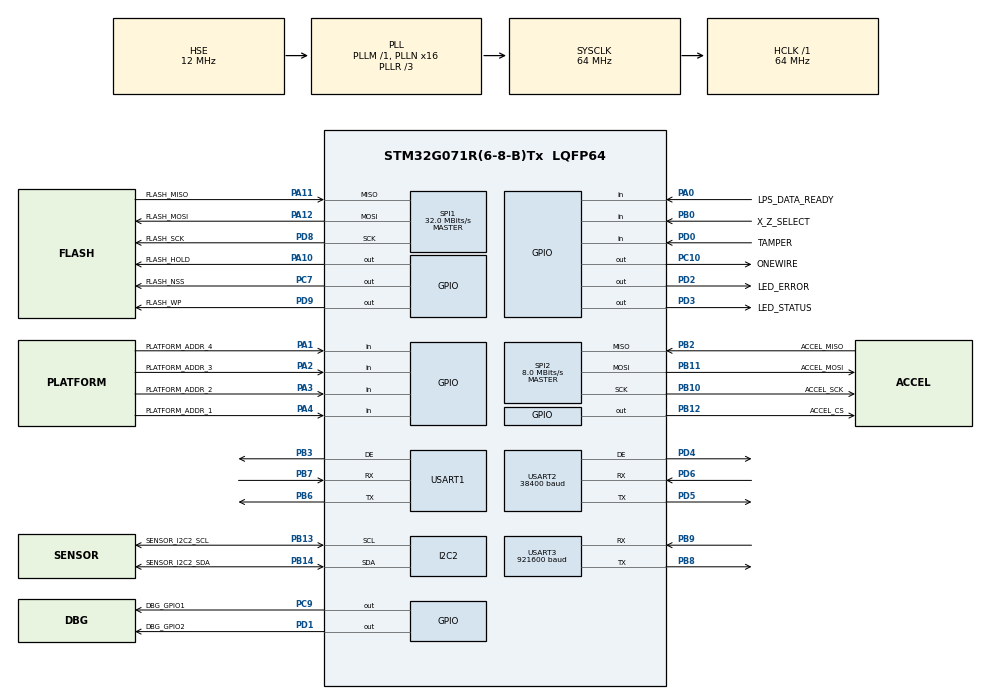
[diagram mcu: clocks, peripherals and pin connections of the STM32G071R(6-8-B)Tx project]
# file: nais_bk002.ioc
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FREERTOS.Tasks01=debugTask,55,384,StartDebugTask,Default,NULL,Dynamic,NULL,NULL;rxCommandsTask,54,384,StartTaskRxCommands,Default,NULL,Dynamic,NULL,NULL;accelTask,49,1024,StartTaskAccelerometer,Default,NULL,Dynamic,NULL,NULL;sensorsPolling,55,384,StartSensorsPolling,Default,NULL,Dynamic,NULL,NULL
FREERTOS.Timers01=maximumsPeriodTimer,maximumsPeriodTimer_callback,osTimerPeriodic,Default,NULL,Dynamic,NULL
FREERTOS.configENABLE_FPU=1
FREERTOS.configMINIMAL_STACK_SIZE=256
FREERTOS.configTIMER_TASK_PRIORITY=0
FREERTOS.configTOTAL_HEAP_SIZE=13312
FREERTOS.configUSE_NEWLIB_REENTRANT=1
FREERTOS.configUSE_PREEMPTION=1
I2C2.Analog_Filter=I2C_ANALOGFILTER_ENABLE
I2C2.Timing=0x10707DBC
Mcu.Family=STM32G0
Mcu.Name=STM32G071R(6-8-B)Tx
Mcu.Package=LQFP64
NVIC.TIM17_IRQn=true\:3\:0\:false\:false\:true\:false\:false\:true\:true
NVIC.TimeBase=TIM17_IRQn
NVIC.TimeBaseIP=TIM17
NVIC.USART1_IRQn=true\:3\:0\:false\:false\:true\:true\:true\:true\:true
NVIC.USART2_IRQn=true\:3\:0\:true\:false\:true\:true\:true\:true\:true
NVIC.USART3_4_LPUART1_IRQn=true\:3\:0\:false\:false\:true\:true\:true\:true\:true
PA0.GPIO_Label=LPS_DATA_READY
PA0.Signal=GPIO_Input
PA1.GPIO_Label=PLATFORM_ADDR_4
PA1.GPIO_PuPd=GPIO_PULLUP
PA1.Signal=GPIO_Input
PA10.GPIO_Label=FLASH_HOLD
PA10.Signal=GPIO_Output
PA11\ [PA9].GPIO_Label=FLASH_MISO
PA11\ [PA9].GPIO_Speed=GPIO_SPEED_FREQ_VERY_HIGH
PA11\ [PA9].Mode=Full_Duplex_Master
PA11\ [PA9].Signal=SPI1_MISO
PA12\ [PA10].GPIO_Label=FLASH_MOSI
PA12\ [PA10].GPIO_Speed=GPIO_SPEED_FREQ_VERY_HIGH
PA12\ [PA10].Mode=Full_Duplex_Master
PA12\ [PA10].Signal=SPI1_MOSI
PA13.Mode=Serial_Wire
PA13.Signal=SYS_SWDIO
PA14-BOOT0.Mode=Serial_Wire
PA14-BOOT0.Signal=SYS_SWCLK
PA2.GPIO_Label=PLATFORM_ADDR_3
PA2.GPIO_PuPd=GPIO_PULLUP
PA2.Signal=GPIO_Input
PA3.GPIO_Label=PLATFORM_ADDR_2
PA3.GPIO_PuPd=GPIO_PULLUP
PA3.Signal=GPIO_Input
PA4.GPIO_Label=PLATFORM_ADDR_1
PA4.GPIO_PuPd=GPIO_PULLUP
PA4.Signal=GPIO_Input
PB0.GPIO_Label=X_Z_SELECT
PB0.GPIO_PuPd=GPIO_PULLUP
PB0.Signal=GPIO_Input
PB10.GPIO_Label=ACCEL_SCK
PB10.GPIO_Speed=GPIO_SPEED_FREQ_VERY_HIGH
PB10.Mode=Full_Duplex_Master
PB10.Signal=SPI2_SCK
PB11.GPIO_Label=ACCEL_MOSI
PB11.GPIO_Speed=GPIO_SPEED_FREQ_VERY_HIGH
PB11.Mode=Full_Duplex_Master
PB11.Signal=SPI2_MOSI
PB12.GPIO_Label=ACCEL_CS
PB12.Signal=GPIO_Output
PB13.GPIO_Label=SENSOR_I2C2_SCL
PB13.Mode=I2C
PB13.Signal=I2C2_SCL
PB14.GPIO_Label=SENSOR_I2C2_SDA
PB14.Mode=I2C
PB14.Signal=I2C2_SDA
PB2.GPIO_Label=ACCEL_MISO
PB2.GPIO_Speed=GPIO_SPEED_FREQ_VERY_HIGH
PB2.Mode=Full_Duplex_Master
PB2.Signal=SPI2_MISO
PB3.Mode=Hardware Flow Control (RS485)
PB3.Signal=USART1_DE
PB6.Mode=Asynchronous
PB6.Signal=USART1_TX
PB7.Mode=Asynchronous
PB7.Signal=USART1_RX
PB8.Mode=Asynchronous
PB8.Signal=USART3_TX
PB9.Mode=Asynchronous
PB9.Signal=USART3_RX
PC10.GPIO_Label=ONEWIRE
PC10.GPIO_Speed=GPIO_SPEED_FREQ_VERY_HIGH
PC10.PinState=GPIO_PIN_RESET
PC10.Signal=GPIO_Output
PC7.GPIO_Label=FLASH_NSS
PC7.Signal=GPIO_Output
PC9.GPIO_Label=DBG_GPIO1
PC9.GPIO_Speed=GPIO_SPEED_FREQ_VERY_HIGH
PC9.Signal=GPIO_Output
PD0.GPIO_Label=TAMPER
PD0.GPIO_PuPd=GPIO_PULLUP
PD0.Signal=GPIO_Input
PD1.GPIO_Label=DBG_GPIO2
PD1.GPIO_Speed=GPIO_SPEED_FREQ_VERY_HIGH
PD1.Signal=GPIO_Output
PD2.GPIO_Label=LED_ERROR
PD2.Signal=GPIO_Output
PD3.GPIO_Label=LED_STATUS
PD3.Signal=GPIO_Output
PD4.Mode=Hardware Flow Control (RS485)
PD4.Signal=USART2_DE
PD5.Mode=Asynchronous
PD5.Signal=USART2_TX
PD6.Mode=Asynchronous
PD6.Signal=USART2_RX
PD8.GPIO_Label=FLASH_SCK
PD8.GPIO_Speed=GPIO_SPEED_FREQ_VERY_HIGH
PD8.Mode=Full_Duplex_Master
PD8.Signal=SPI1_SCK
PD9.GPIO_Label=FLASH_WP
PD9.Signal=GPIO_Output
PF0-OSC_IN\ (PF0).Mode=HSE-External-Oscillator
PF0-OSC_IN\ (PF0).Signal=RCC_OSC_IN
PF1-OSC_OUT\ (PF1).Mode=HSE-External-Oscillator
PF1-OSC_OUT\ (PF1).Signal=RCC_OSC_OUT
ProjectManager.HeapSize=0x200
ProjectManager.StackSize=0x400
ProjectManager.TargetToolchain=STM32CubeIDE
RCC.ADCFreq_Value=64000000
RCC.AHBFreq_Value=64000000
RCC.CortexFreq_Value=64000000
RCC.EXTERNAL_CLOCK_VALUE=48000
RCC.EnbaleCSS=true
RCC.HCLKFreq_Value=64000000
RCC.HSE_VALUE=12000000
RCC.HSI_VALUE=16000000
RCC.LSE_VALUE=32768
RCC.PLLN=16
RCC.PLLR=RCC_PLLR_DIV3
RCC.PLLSourceVirtual=RCC_PLLSOURCE_HSE
RCC.SYSCLKFreq_VALUE=64000000
RCC.SYSCLKSource=RCC_SYSCLKSOURCE_PLLCLK
RCC.VCOOutputFreq_Value=192000000
SPI1.BaudRatePrescaler=SPI_BAUDRATEPRESCALER_2
SPI1.CalculateBaudRate=32.0 MBits/s
SPI1.DataSize=SPI_DATASIZE_8BIT
SPI1.Direction=SPI_DIRECTION_2LINES
SPI1.Mode=SPI_MODE_MASTER
SPI1.VirtualType=VM_MASTER
SPI2.BaudRatePrescaler=SPI_BAUDRATEPRESCALER_8
SPI2.CalculateBaudRate=8.0 MBits/s
SPI2.DataSize=SPI_DATASIZE_8BIT
SPI2.Direction=SPI_DIRECTION_2LINES
SPI2.Mode=SPI_MODE_MASTER
SPI2.VirtualType=VM_MASTER
TIM1.Prescaler=64-1
USART1.VirtualMode-Asynchronous=VM_ASYNC
USART1.VirtualMode-Hardware\ Flow\ Control\ (RS485)=VM_ASYNC
USART2.AutoBaudRateEnableParam=UART_ADVFEATURE_AUTOBAUDRATE_DISABLE
USART2.BaudRate=38400
USART2.FIFOMode=FIFOMODE_ENABLE
USART2.Parity=PARITY_EVEN
USART2.RxPinLevelInvertParam=ADVFEATURE_RXINV_DISABLE
USART2.TxPinLevelInvertParam=ADVFEATURE_TXINV_DISABLE
USART2.UART_DEPolarity=UART_DE_POLARITY_HIGH
USART2.VirtualMode-Asynchronous=VM_ASYNC
USART2.VirtualMode-Hardware\ Flow\ Control\ (RS485)=VM_ASYNC
USART2.WordLength=WORDLENGTH_9B
USART3.BaudRate=921600
USART3.VirtualMode-Asynchronous=VM_ASYNC
VP_FREERTOS_VS_CMSIS_V2.Mode=CMSIS_V2
VP_RTC_VS_RTC_Activate.Mode=RTC_Enabled
VP_SYS_VS_tim17.Mode=TIM17
VP_TIM1_VS_ClockSourceINT.Mode=Internal
board=custom

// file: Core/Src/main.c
/* USER CODE BEGIN Header */
// This is an open source non-commercial project. Dear PVS-Studio, please check it.
// PVS-Studio Static Code Analyzer for C, C++, C#, and Java: https://pvs-studio.com
/**
  ******************************************************************************
  * @file           : main.c
  * @brief          : Main program body
  ******************************************************************************
  * @attention
  *
  * Copyright (c) 2023 STMicroelectronics.
  * All rights reserved.
  *
  * This software is licensed under terms that can be found in the LICENSE file
  * in the root directory of this software component.
  * If no LICENSE file comes with this software, it is provided AS-IS.
  *
  ******************************************************************************
  */
/* USER CODE END Header */
#include "main.h"
#include "cmsis_os.h"
#include "i2c.h"
#include "rtc.h"
#include "spi.h"
#include "tim.h"
#include "usart.h"
#include "gpio.h"

/* USER CODE BEGIN Includes */
#include "hardware_check.h"
#include "debug.h"

#include <string.h>

/* USER CODE END Includes */

/* USER CODE BEGIN PD */
//#define DEBUG
//#define EXTENDED_DEBUG
/* USER CODE END PD */

void SystemClock_Config(void);
void MX_FREERTOS_Init(void);

int main(void)
{

  /* MCU Configuration--------------------------------------------------------*/

  /* Reset of all peripherals, Initializes the Flash interface and the Systick. */
  HAL_Init();

  /* Configure the system clock */
  SystemClock_Config();

  /* Initialize all configured peripherals */
  MX_GPIO_Init();
  MX_I2C2_Init();
  MX_SPI1_Init();
  MX_SPI2_Init();
  MX_USART1_UART_Init();
  MX_USART2_UART_Init();
  MX_USART3_UART_Init();
  MX_TIM1_Init();
  MX_RTC_Init();
  /* USER CODE BEGIN 2 */

  debug("\r\n\r\nInited\r\n");

  /* USER CODE END 2 */

  /* Init scheduler */
  osKernelInitialize();  /* Call init function for freertos objects (in freertos.c) */
  MX_FREERTOS_Init();

  /* Start scheduler */
  osKernelStart();
  /* We should never get here as control is now taken by the scheduler */
  /* Infinite loop */
  while (1)
  {

  }
}

void SystemClock_Config(void)
{
  RCC_OscInitTypeDef RCC_OscInitStruct = {0};
  RCC_ClkInitTypeDef RCC_ClkInitStruct = {0};

  /** Configure the main internal regulator output voltage
  */
  HAL_PWREx_ControlVoltageScaling(PWR_REGULATOR_VOLTAGE_SCALE1);

  /** Initializes the RCC Oscillators according to the specified parameters
  * in the RCC_OscInitTypeDef structure.
  */
  RCC_OscInitStruct.OscillatorType = RCC_OSCILLATORTYPE_LSI|RCC_OSCILLATORTYPE_HSE;
  RCC_OscInitStruct.HSEState = RCC_HSE_ON;
  RCC_OscInitStruct.LSIState = RCC_LSI_ON;
  RCC_OscInitStruct.PLL.PLLState = RCC_PLL_ON;
  RCC_OscInitStruct.PLL.PLLSource = RCC_PLLSOURCE_HSE;
  RCC_OscInitStruct.PLL.PLLM = RCC_PLLM_DIV1;
  RCC_OscInitStruct.PLL.PLLN = 16;
  RCC_OscInitStruct.PLL.PLLP = RCC_PLLP_DIV2;
  RCC_OscInitStruct.PLL.PLLQ = RCC_PLLQ_DIV2;
  RCC_OscInitStruct.PLL.PLLR = RCC_PLLR_DIV3;
  if (HAL_RCC_OscConfig(&RCC_OscInitStruct) != HAL_OK)
  {
    Error_Handler();
  }

  /** Initializes the CPU, AHB and APB buses clocks
  */
  RCC_ClkInitStruct.ClockType = RCC_CLOCKTYPE_HCLK|RCC_CLOCKTYPE_SYSCLK
                              |RCC_CLOCKTYPE_PCLK1;
  RCC_ClkInitStruct.SYSCLKSource = RCC_SYSCLKSOURCE_PLLCLK;
  RCC_ClkInitStruct.AHBCLKDivider = RCC_SYSCLK_DIV1;
  RCC_ClkInitStruct.APB1CLKDivider = RCC_HCLK_DIV1;

  if (HAL_RCC_ClockConfig(&RCC_ClkInitStruct, FLASH_LATENCY_2) != HAL_OK)
  {
    Error_Handler();
  }

  /** Enables the Clock Security System
  */
  HAL_RCC_EnableCSS();
}

void HAL_TIM_PeriodElapsedCallback(TIM_HandleTypeDef *htim)
{
  if (htim->Instance == TIM17) {
    HAL_IncTick();
  }
}

void Error_Handler(void)
{
  /* USER CODE BEGIN Error_Handler_Debug */
  /* User can add his own implementation to report the HAL error return state */
	__disable_irq();
	HAL_PWR_EnableBkUpAccess();
	HAL_RTCEx_BKUPWrite(&hrtc, RTC_BKP_DR0, 0xAAAA);

	debug("==========\r\n");
	debug("ERROR HANDLER\r\n");
	debug("==========\r\n");

	send_all_debug_buffer_blocking();

	HAL_GPIO_WritePin(LED_ERROR_GPIO_Port, LED_ERROR_Pin, GPIO_PIN_SET);

	HAL_NVIC_SystemReset();

  while (1)
  {
  }
  /* USER CODE END Error_Handler_Debug */
}

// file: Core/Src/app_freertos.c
/* USER CODE BEGIN Header */
// This is an open source non-commercial project. Dear PVS-Studio, please check it.
// PVS-Studio Static Code Analyzer for C, C++, C#, and Java: https://pvs-studio.com
/**
 ******************************************************************************
 * File Name          : app_freertos.c
 * Description        : Code for freertos applications
 ******************************************************************************
 * @attention
 *
 * Copyright (c) 2023 STMicroelectronics.
 * All rights reserved.
 *
 * This software is licensed under terms that can be found in the LICENSE file
 * in the root directory of this software component.
 * If no LICENSE file comes with this software, it is provided AS-IS.
 *
 ******************************************************************************
 */
/* USER CODE END Header */

#include "FreeRTOS.h"
#include "task.h"
#include "main.h"
#include "cmsis_os.h"

/* USER CODE BEGIN Includes */
#include "spi.h"
#include "i2c.h"
#include "usart.h"

#include "hardware_check.h"
#include "stm32g0xx_it.h"
#include <string.h>
#include <stdio.h>
#include <stdint.h>

#include <math.h>

#include <stdlib.h>

#include "lis331dlh.h"
#include "calc_length.h"
#include "debug.h"

#include "lps22.h"
#include "hdc1080.h"
#include "sensors_state.h"

#include <stdbool.h>
#include "rtc.h"
/* USER CODE END Includes */

/* USER CODE BEGIN PTD */
typedef enum {
	PARSER_WAITING_START = 0,
	PARSER_RECEIVING_1BYTE,
	PARSER_RECEIVING_2BYTE,
	PARSER_WAITING_END,
	PARSER_WAITING_TASK,
} parser_state_t;

struct SensorsState sensorsState;

typedef struct {
	uint8_t number;
	uint8_t number_ch;
} platform_switches_state_t;

/* USER CODE END PTD */

/* USER CODE BEGIN PD */
#define timer_period 600000
/* USER CODE END PD */

/* USER CODE BEGIN Variables */
uint8_t transmitting_command[22];
uint8_t received_command[22];	//буфер приема данных от терминала

uint8_t is_data_received = 0;

parser_state_t terminal_parser_state = PARSER_WAITING_START;

LPS22HB_sensor LPS_data;

HDC_sensor HDC_config = {
		.temperature_resolution = Temperature_Resolution_14_bit,
		.humidity_resolution = Humidity_Resolution_14_bit,
};

lis331dlh_t config = {
	.data_rate = DATA_RATE_100,
	.range = FULL_SCALE_2G,
};

platform_switches_state_t platform_number;

uint16_t serial_number = 132;	//	СЕРИЙНЫЙ НОМЕР ПЛАТЫ (от 0 до 65535 включительно)

bool is_error = 0;
bool case_opened = 0;

bool period_expired = false;

float maximum_move_in_period = 0;
float max_acceleration_in_period = 0;

/* USER CODE END Variables */
/* Definitions for debugTask */
osThreadId_t debugTaskHandle;
const osThreadAttr_t debugTask_attributes = {
  .name = "debugTask",
  .priority = (osPriority_t) osPriorityRealtime7,
  .stack_size = 384 * 4
};
/* Definitions for rxCommandsTask */
osThreadId_t rxCommandsTaskHandle;
const osThreadAttr_t rxCommandsTask_attributes = {
  .name = "rxCommandsTask",
  .priority = (osPriority_t) osPriorityRealtime6,
  .stack_size = 384 * 4
};
/* Definitions for accelTask */
osThreadId_t accelTaskHandle;
const osThreadAttr_t accelTask_attributes = {
  .name = "accelTask",
  .priority = (osPriority_t) osPriorityRealtime1,
  .stack_size = 1024 * 4
};
/* Definitions for sensorsPolling */
osThreadId_t sensorsPollingHandle;
const osThreadAttr_t sensorsPolling_attributes = {
  .name = "sensorsPolling",
  .priority = (osPriority_t) osPriorityRealtime7,
  .stack_size = 384 * 4
};
/* Definitions for maximumsPeriodTimer */
osTimerId_t maximumsPeriodTimerHandle;
const osTimerAttr_t maximumsPeriodTimer_attributes = {
  .name = "maximumsPeriodTimer"
};

/* USER CODE BEGIN FunctionPrototypes */
void check_errors();

void get_platform_number() {

	platform_number.number |= (!HAL_GPIO_ReadPin(PLATFORM_ADDR_1_GPIO_Port, PLATFORM_ADDR_1_Pin) << 0);
	platform_number.number |= (!HAL_GPIO_ReadPin(PLATFORM_ADDR_2_GPIO_Port, PLATFORM_ADDR_2_Pin) << 1);
	platform_number.number |= (!HAL_GPIO_ReadPin(PLATFORM_ADDR_3_GPIO_Port, PLATFORM_ADDR_3_Pin) << 2);
	platform_number.number |= (!HAL_GPIO_ReadPin(PLATFORM_ADDR_4_GPIO_Port, PLATFORM_ADDR_4_Pin) << 3);

	for (int i = 0; i < 4; i++) {
		if (platform_number.number & (1 << i)) {
			platform_number.number = i;
			break;
		}
	}

	platform_number.number_ch = '0' + platform_number.number;

	debug("PLATFORM NUMBER: %d \r\n", platform_number.number);
}

/* USER CODE END FunctionPrototypes */

void StartDebugTask(void *argument);
void StartTaskRxCommands(void *argument);
void StartTaskAccelerometer(void *argument);
void StartSensorsPolling(void *argument);
void maximumsPeriodTimer_callback(void *argument);

void MX_FREERTOS_Init(void); /* (MISRA C 2004 rule 8.1) */

void MX_FREERTOS_Init(void) {
  /* USER CODE BEGIN Init */

	sensorsState.hdc_fail = 0;
	sensorsState.lps_fail = 0;

  /* USER CODE END Init */

  /* Create the timer(s) */
  /* creation of maximumsPeriodTimer */
  maximumsPeriodTimerHandle = osTimerNew(maximumsPeriodTimer_callback, osTimerPeriodic, NULL, &maximumsPeriodTimer_attributes);

  /* Create the thread(s) */
  /* creation of debugTask */
  debugTaskHandle = osThreadNew(StartDebugTask, NULL, &debugTask_attributes);

  /* creation of rxCommandsTask */
  rxCommandsTaskHandle = osThreadNew(StartTaskRxCommands, NULL, &rxCommandsTask_attributes);

  /* creation of accelTask */
  accelTaskHandle = osThreadNew(StartTaskAccelerometer, NULL, &accelTask_attributes);

  /* creation of sensorsPolling */
  sensorsPollingHandle = osThreadNew(StartSensorsPolling, NULL, &sensorsPolling_attributes);

}

void StartDebugTask(void *argument)
{
  /* USER CODE BEGIN StartDebugTask */

  /* Infinite loop */
	check_errors();

	get_platform_number();

	osTimerStart(maximumsPeriodTimerHandle, timer_period);	// запуск таймера с периодом срабатывания 10 минут
	debug("\r\nSN: %05d\r\n", serial_number);
	debug("\r\nMax mediums timer set to %d ms\r\n", timer_period);

	if (!debug_enabled()) {

		uint8_t message_sn[64] = { 0, };
		memset(message_sn, 0, sizeof(message_sn));

		int size = snprintf((char *)message_sn, sizeof(message_sn), "SN: %05d \r\n", serial_number);

		if (size > 0) {
			HAL_UART_Transmit(debug_uart, message_sn, size, 100);
		}

	}

	vTaskDelay(100);

	for (;;) {

		send_debug_messages();

		if (!debug_enabled()) {

			float max_acceleration = fmax(
					round_and_limit_float(get_max_positive_acceleration()),
					round_and_limit_float(get_max_negative_acceleration()));

			float maximum_move = fmax(
					round_and_limit_float(get_max_positive_move()),
					round_and_limit_float(get_max_negative_move()));

			uint8_t message[256] = { 0, };
			memset(message, 0, sizeof(message));

			int size = snprintf((char *)message, sizeof(message),
				"ACCEL: 0x%08X, LENGTH: 0x%08X, MAX_ACCEL: 0x%08X, MAX_LENGTH: 0x%08X, PRESSURE: %.2f HUMIDITY: %d, TEMP %.2f\r\n\nACCEL: %06.2f,     LENGTH: %06.2f,     MAX_ACCEL: %06.2f,     MAX_LENGTH: %06.2f\r\n\n",
				*(uint32_t*)&max_acceleration, *(uint32_t*)&maximum_move,
				*(uint32_t*)&max_acceleration_in_period, *(uint32_t*)&maximum_move_in_period,
				(LPS_data.last_pressure / 1024.0), HDC_config.last_humidity,
				HDC_config.last_temperature,
				max_acceleration, maximum_move,
				max_acceleration_in_period, maximum_move_in_period);

			if (size > 0) {
				HAL_UART_Transmit(debug_uart, message, size, 100);
			}

		}

		HAL_GPIO_TogglePin(LED_STATUS_GPIO_Port, LED_STATUS_Pin);
		vTaskDelay(100);
	}

  /* USER CODE END StartDebugTask */
}

void StartTaskRxCommands(void *argument) {
	/* USER CODE BEGIN StartTaskRxCommands */
	/* Infinite loop */

	memset(received_command, 0x0, sizeof(received_command));
	memset(transmitting_command, 0x0, sizeof(transmitting_command));

	receive(terminal_uart, received_command, 1);

	for (;;) {

		vTaskDelay(5);

		if (terminal_parser_state == PARSER_WAITING_TASK) {
			HAL_GPIO_WritePin(LED_STATUS_GPIO_Port, LED_STATUS_Pin, GPIO_PIN_SET);

			debug("Received <<%s>>\r\n", received_command);

			if (received_command[1] == '4') { // если посылка S4x;

				float maximum = fmax(
						round_and_limit_float(get_max_positive_move()),
						round_and_limit_float(get_max_negative_move()));

				float max_acceleration = fmax(
						round_and_limit_float(get_max_positive_acceleration()),
						round_and_limit_float(get_max_negative_acceleration()));

				uint8_t flags = 0;
				flags |= (case_opened << 0);
				flags |= (is_error << 1);
				if (is_error) is_error = false;// сбрасываем флаг ошибки после отправки на терминал

				if (received_command[2] == platform_number.number_ch) {	// Анализируем третий символ, отвечающий за конкретный БК

					transmitting_command[0] = HDC_config.last_temperature;
					transmitting_command[1] = HDC_config.last_humidity;
					transmitting_command[2] = flags;
					transmitting_command[3] = (((LPS_data.last_pressure / 1000) - 0.5) / 1.5f * 100);

					memcpy(&transmitting_command[4], &maximum, 4);
					memcpy(&transmitting_command[8], &max_acceleration, 4);
					memcpy(&transmitting_command[12], &maximum_move_in_period, 4);
					memcpy(&transmitting_command[16], &max_acceleration_in_period, 4);
					memcpy(&transmitting_command[20], &serial_number, 2);

					HAL_UART_Transmit_IT(terminal_uart, transmitting_command, 22);
					debug("Transmit to terminal: <%02x %02x %02x %02x  %02x %02x %02x %02x  %02x %02x %02x %02x  %02x %02x %02x %02x  %02x %02x %02x %02x  %02x %02x>",
							transmitting_command[0], transmitting_command[1],
							transmitting_command[2], transmitting_command[3],
							transmitting_command[4], transmitting_command[5],
							transmitting_command[6], transmitting_command[7],
							transmitting_command[8], transmitting_command[9],
							transmitting_command[10], transmitting_command[11],
							transmitting_command[12], transmitting_command[13],
							transmitting_command[14], transmitting_command[15],
							transmitting_command[16], transmitting_command[17],
							transmitting_command[18], transmitting_command[19],
							transmitting_command[20], transmitting_command[21]);
				}
			}

			terminal_parser_state = PARSER_WAITING_START;
			memset(received_command, 0, sizeof(received_command));
			receive(terminal_uart, received_command, 1);
			debug("Receive from task\r\n");
		}
	}
	/* USER CODE END StartTaskRxCommands */
}

void StartTaskAccelerometer(void *argument)
{
  /* USER CODE BEGIN StartTaskAccelerometer */
  /* Infinite loop */
	if(lis331dlh_init_spi(&config, ACCELEROMETER_SPI, ACCEL_CS_GPIO_Port, ACCEL_CS_Pin)) {
		debug("LIS331DLH DOESN'T WORK OR DOESN'T SOLDERED");
		HardFault_Handler();
	}
	lis331dlh_update_config(&config);

//	lis331dlh_print_config(&config);
	// нахождение угла наклона
	find_degree(&config);

	while (1) {

		// проверка готовности
		lis331dlh_read_status(&config);
		check_overrun(&config);

		if (is_measurement_ready(&config)) {
			// обновление данных с датчика ускорения
			lis331dlh_update_accelaration(&config);

			// сброс максимумом и минимумов по таймерам
			reset_move_maximums();
			reset_acceleration_maximums();

			// алгоритм вычисления длины перемещений
			calc_length(&config);
		}

		vTaskDelay(5);

		float maximum = fmax(
				round_and_limit_float(get_max_positive_move()),
				round_and_limit_float(get_max_negative_move()));

		float max_acceleration = fmax(
				round_and_limit_float(get_max_positive_acceleration()),
				round_and_limit_float(get_max_negative_acceleration()));

		if(period_expired) {
			debug("\r\nTaskAccelerometer: Timer done. current maximum = %f maximum_in_period = %f current max_acceleration = %f max_acceleration_in_period = %f \r\n",
					maximum, maximum_move_in_period,
					max_acceleration, max_acceleration_in_period);
			period_expired = false;
			maximum_move_in_period = 0;
			max_acceleration_in_period = 0;
			debug("\r\nTaskAccelerometer: Timer resetted. maximum_in_period = %f max_acceleration_in_period = %f \r\n", maximum_move_in_period, max_acceleration_in_period);
		}

		if(maximum > maximum_move_in_period) maximum_move_in_period = maximum;
		if(max_acceleration > max_acceleration_in_period) max_acceleration_in_period = max_acceleration;
	}
  /* USER CODE END StartTaskAccelerometer */
}

void StartSensorsPolling(void *argument)
{
  /* USER CODE BEGIN StartSensorsPolling */
 /* Infinite loop */

	vTaskDelay(200);
	if(!hdc1080_init(SENSORS_I2C, HDC_config.temperature_resolution, HDC_config.humidity_resolution)) {
		debug("HDC1080 DOESN'T WORK OR DOESN'T SOLDERED");
		HardFault_Handler();
	}

	if(!lps22hb_init(SENSORS_I2C)) {
		debug("LPS22HB DOESN'T WORK OR DOESN'T SOLDERED");
		HardFault_Handler();
	}

	for (;;) {

		uint8_t status = lps22hb_get_status(&config);
		lps22hb_check_pressure_overrun(status);
		lps22hb_check_temperature_overrun(status);

		if (lps22hb_check_pressure_data_available(status) && lps22hb_check_temperature_data_available(status))
		{
			hdc1080_start_measurement(&HDC_config.last_temperature, &HDC_config.last_humidity);
			debug("HDC1080 RAW TEMP: 0x%4x RAW HUMIDITY: 0x%4x\r\n",
					&HDC_config.last_temperature,
					&HDC_config.last_humidity);

			LPS_data.last_pressure = lps22hb_read_pressure();
			LPS_data.last_temperature = lps22hb_read_temperature();
			debug("LPS22HB RAW TEMP: 0x%4x RAW PRESSURE: 0x%4x\r\n",
					&LPS_data.last_temperature,
					&LPS_data.last_pressure);

			vTaskDelay(1000);
		}
		else {
			vTaskDelay(10);
		}

		if(HAL_GPIO_ReadPin(TAMPER_GPIO_Port, TAMPER_Pin) == GPIO_PIN_RESET){
			case_opened = true;
		}
	}
  /* USER CODE END StartSensorsPolling */
}

/* maximumsPeriodTimer_callback function */
void maximumsPeriodTimer_callback(void *argument)
{
  /* USER CODE BEGIN maximumsPeriodTimer_callback */
	debug("\r\n===Timer 10 minutes: reloaded===\r\n");
	period_expired = true;
  /* USER CODE END maximumsPeriodTimer_callback */
}

/* USER CODE BEGIN Application */

void HAL_UART_RxCpltCallback(UART_HandleTypeDef *huart) {	//Callback-функция завершения приема данных
	if(huart == &huart2) {
		extended_debug("Current state = %d, receive <%c>\r\n", terminal_parser_state, received_command[terminal_parser_state]);

		switch (terminal_parser_state) {
		case PARSER_WAITING_START:
			if (received_command[0] == 'S') {
				terminal_parser_state = PARSER_RECEIVING_1BYTE;
			}
			break;

		case PARSER_RECEIVING_1BYTE:
			if (received_command[1] == '4') {
				terminal_parser_state += 1;
			}
			else {
				terminal_parser_state = PARSER_WAITING_START;
			}
			break;

		case PARSER_RECEIVING_2BYTE:
			terminal_parser_state += 1;
			break;

		case PARSER_WAITING_END:
			terminal_parser_state = PARSER_WAITING_TASK;
			break;

		case PARSER_WAITING_TASK:
			break;
		}

		extended_debug("New state = %d\r\n", terminal_parser_state);
		HAL_UART_Receive_IT(terminal_uart, received_command + terminal_parser_state, 1);
		extended_debug("Receive from handler\r\n");
	}
}

void HAL_UART_TxCpltCallback(UART_HandleTypeDef *huart) {	//Callback-функция завершения передачи данных
	if (huart == debug_uart) {
		reset_debug_variables();
	}
}

void check_errors() {
	if(HAL_RTCEx_BKUPRead(&hrtc, RTC_BKP_DR0) == 0xBBBB){
		HAL_GPIO_WritePin(LED_ERROR_GPIO_Port, LED_ERROR_Pin, GPIO_PIN_SET);
		HAL_PWR_EnableBkUpAccess();
		HAL_RTCEx_BKUPWrite(&hrtc, RTC_BKP_DR0, 0x0000);
		is_error = true;
		debug("==================== REBOOT REASON: HardFault ====================\r\n");
	}

	if(HAL_RTCEx_BKUPRead(&hrtc, RTC_BKP_DR0) == 0xAAAA){
		HAL_GPIO_WritePin(LED_ERROR_GPIO_Port, LED_ERROR_Pin, GPIO_PIN_SET);
		HAL_PWR_EnableBkUpAccess();
		HAL_RTCEx_BKUPWrite(&hrtc, RTC_BKP_DR0, 0x0000);
		is_error = true;
		debug("==================== REBOOT REASON: ErrorHandler ====================\r\n");
	}
}
/* USER CODE END Application */
